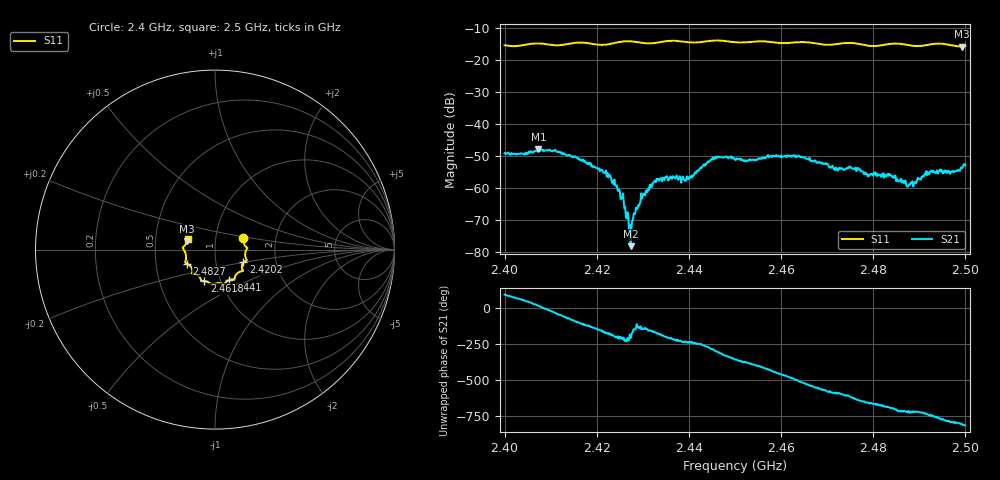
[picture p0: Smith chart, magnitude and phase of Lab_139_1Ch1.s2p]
# Hz S RI R 50
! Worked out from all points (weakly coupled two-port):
!   601 points, 2.4 GHz to 2.5 GHz, reference 50 ohm
!   highest |S21| = -47.90 dB at 2.4073 GHz (marker M1); lowest = -78.2 dB at 2.4273 GHz (marker M2)
!   lowest |S11| = -15.8 dB at 2.4992 GHz (marker M3), VSWR 1.39, Z = 36.5 + j3.65 ohm
!   |S11| at or under -10 dB: start of sweep to end of sweep
!   S12 and S22 are empty: the file has one direction only
!   S11 on the Smith chart (normalised r, x): 2.4 GHz: 1.36, +0.18; 2.4202 GHz: 1.36, -0.20; 2.441 GHz: 1.10, -0.39; 2.4618 GHz: 0.84, -0.30; 2.4827 GHz: 0.72, -0.12; 2.5 GHz: 0.73, +0.09
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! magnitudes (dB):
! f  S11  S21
! 2.4 GHz  -15.4  -49.1
! 2.4073 GHz  -14.8  -47.9
! 2.4167 GHz  -14.6  -51.5
! 2.4202 GHz  -15.2  -53.9
! 2.4225 GHz  -15.1  -56.7
! 2.4243 GHz  -14.5  -59.2
! 2.4253 GHz  -14.3  -63.4
! 2.4268 GHz  -14.1  -68.6
! 2.4273 GHz  -14.2  -78.2
! 2.4302 GHz  -14.7  -62.2
! 2.4333 GHz  -14.5  -57.1
! 2.441 GHz  -14.6  -56.2
! 2.4455 GHz  -13.9  -50.7
! 2.45 GHz  -14.5  -51.1
! 2.4618 GHz  -14.7  -49.9
! 2.4667 GHz  -14.6  -51.6
! 2.4827 GHz  -15.2  -56.1
! 2.4833 GHz  -15.0  -56.1
! 2.4877 GHz  -15.4  -59.1
! 2.4923 GHz  -15.1  -54.8
! 2.4992 GHz  -15.8  -53.6
! 2.5 GHz  -15.7  -53.0
